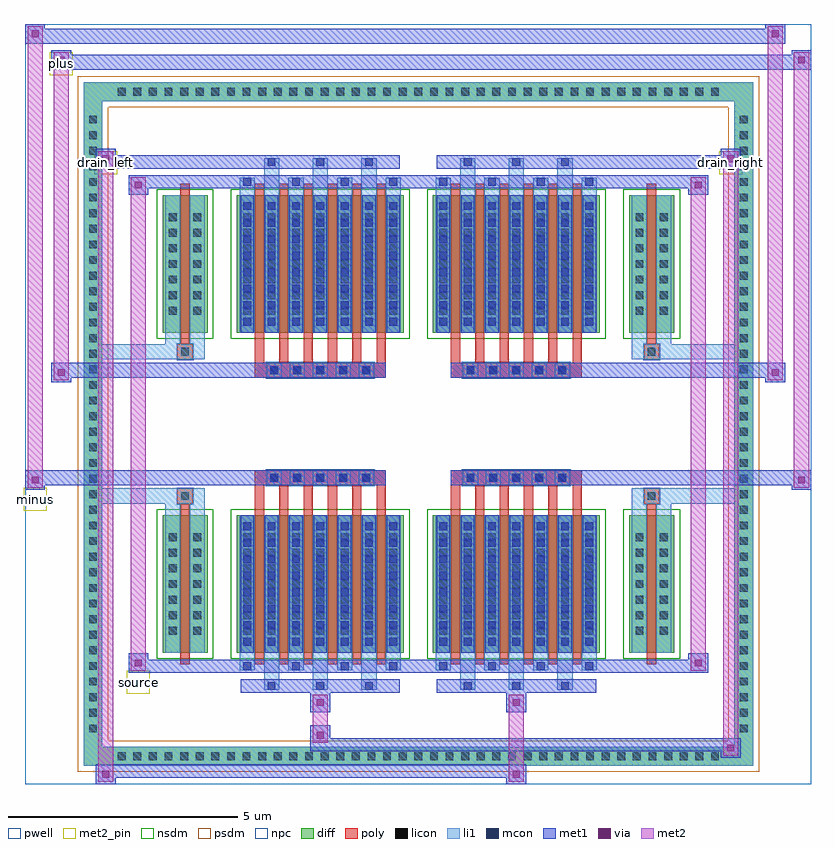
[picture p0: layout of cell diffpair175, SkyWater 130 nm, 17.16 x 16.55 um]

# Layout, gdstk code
import gdstk
lib = gdstk.Library(unit=1e-6, precision=5e-09)
def R(c, l, rs):  # rectangles x0, y0, x1, y1
    for r in rs: c.add(gdstk.rectangle(r[:2], r[2:], *l))
def A(c, l, x, y, w, h, nx, ny, dx, dy):  # array of equal rectangles
    R(c, l, [(x+i*dx, y+j*dy, x+i*dx+w, y+j*dy+h) for i in range(nx) for j in range(ny)])
def P(c, l, *ps):  # polygons
    for p in ps: c.add(gdstk.Polygon(p, *l))
pwell = (64, 44)
diff = (65, 20)
poly = (66, 20)
licon = (66, 44)
li1 = (67, 20)
mcon = (67, 44)
met1 = (68, 20)
via = (68, 44)
met2_pin = (69, 16)
met2 = (69, 20)
nsdm = (93, 44)
psdm = (94, 20)
npc = (95, 20)

diffpair175 = lib.new_cell('diffpair175')
R(diffpair175, pwell, [(-8.56,-7.84,8.56,8.71), (-5.88,-6.03,-0.01,-0.805), (0.01,-6.03,5.88,-0.805), (-5.88,0.805,-0.01,6.03), (0.01,0.805,5.88,6.03)])
A(diffpair175, diff, -6.665, -7.44, 0.41, 0.41, 39, 2, 0.34, 14.47)
A(diffpair175, diff, -7.29, -6.835, 0.41, 0.41, 1, 40, 0, 0.34)
A(diffpair175, diff, 6.88, -6.835, 0.41, 0.41, 1, 40, 0, 0.34)
R(diffpair175, diff, [(-6.665,-7.44,6.665,-7.03), (-7.29,-6.835,-6.88,6.835), (6.88,-6.835,7.29,6.835), (-5.57,-4.985,-4.59,-1.985), (-3.95,-4.985,-0.32,-1.985), (0.32,-4.985,3.95,-1.985), (4.59,-4.985,5.57,-1.985), (-5.57,1.985,-4.59,4.985), (-3.95,1.985,-0.32,4.985), (0.32,1.985,3.95,4.985), (4.59,1.985,5.57,4.985), (-6.665,7.03,6.665,7.44)])
P(diffpair175, diff, [(7.29,7.44),(-7.29,7.44),(-7.29,-7.03),(-6.88,-7.03),(-6.88,7.03),(6.88,7.03),(6.88,-7.03),(-6.88,-7.03),(-7.29,-7.03),(-7.29,-7.44),(7.29,-7.44)])
A(diffpair175, poly, -3.56, -5.235, 0.2, 3.5, 6, 2, 0.53, 6.97)
A(diffpair175, poly, 0.71, -5.235, 0.2, 3.5, 6, 2, 0.53, 6.97)
A(diffpair175, poly, -3.56, -1.735, 0.2, 0.4, 6, 2, 0.53, 3.07)
A(diffpair175, poly, 0.71, -1.735, 0.2, 0.4, 6, 2, 0.53, 3.07)
A(diffpair175, poly, -3.3, -1.335, 0.33, 0.33, 5, 2, 0.5, 2.34)
A(diffpair175, poly, 0.97, -1.335, 0.33, 0.33, 5, 2, 0.5, 2.34)
R(diffpair175, poly, [(-5.18,-5.235,-4.98,-1.735), (4.98,-5.235,5.18,-1.735), (-5.245,-1.735,-4.915,-1.405), (-5.245,-1.735,-4.915,-1.405), (4.915,-1.735,5.245,-1.405), (4.915,-1.735,5.245,-1.405), (-3.56,-1.335,-0.71,-1.005), (0.71,-1.335,3.56,-1.005), (-3.56,1.005,-0.71,1.335), (0.71,1.005,3.56,1.335), (-5.245,1.405,-4.915,1.735), (-5.245,1.405,-4.915,1.735), (4.915,1.405,5.245,1.735), (4.915,1.405,5.245,1.735), (-5.18,1.735,-4.98,5.235), (4.98,1.735,5.18,5.235)])
A(diffpair175, licon, -6.545, -7.32, 0.17, 0.17, 39, 2, 0.34, 14.47)
A(diffpair175, licon, -7.17, -6.715, 0.17, 0.17, 1, 40, 0, 0.34)
A(diffpair175, licon, 7, -6.715, 0.17, 0.17, 1, 40, 0, 0.34)
A(diffpair175, licon, -5.43, -4.59, 0.17, 0.17, 1, 7, 0, 0.34)
A(diffpair175, licon, -4.9, -4.59, 0.17, 0.17, 1, 7, 0, 0.34)
A(diffpair175, licon, -3.81, -4.59, 0.17, 0.17, 7, 7, 0.53, 0.34)
A(diffpair175, licon, 0.46, -4.59, 0.17, 0.17, 7, 7, 0.53, 0.34)
A(diffpair175, licon, 4.73, -4.59, 0.17, 0.17, 1, 7, 0, 0.34)
A(diffpair175, licon, 5.26, -4.59, 0.17, 0.17, 1, 7, 0, 0.34)
A(diffpair175, licon, -3.22, -1.255, 0.17, 0.17, 5, 2, 0.5, 2.34)
A(diffpair175, licon, 1.05, -1.255, 0.17, 0.17, 5, 2, 0.5, 2.34)
A(diffpair175, licon, -5.43, 2.38, 0.17, 0.17, 1, 7, 0, 0.34)
A(diffpair175, licon, -4.9, 2.38, 0.17, 0.17, 1, 7, 0, 0.34)
A(diffpair175, licon, -3.81, 2.38, 0.17, 0.17, 7, 7, 0.53, 0.34)
A(diffpair175, licon, 0.46, 2.38, 0.17, 0.17, 7, 7, 0.53, 0.34)
A(diffpair175, licon, 4.73, 2.38, 0.17, 0.17, 1, 7, 0, 0.34)
A(diffpair175, licon, 5.26, 2.38, 0.17, 0.17, 1, 7, 0, 0.34)
R(diffpair175, licon, [(-5.165,-1.655,-4.995,-1.485), (4.995,-1.655,5.165,-1.485), (-5.165,1.485,-4.995,1.655), (4.995,1.485,5.165,1.655)])
A(diffpair175, li1, -6.625, -7.4, 0.33, 0.33, 39, 2, 0.34, 14.47)
A(diffpair175, li1, -7.25, -6.795, 0.33, 0.33, 1, 40, 0, 0.34)
A(diffpair175, li1, 6.92, -6.795, 0.33, 0.33, 1, 40, 0, 0.34)
A(diffpair175, li1, -3.36, -5.79, 0.33, 0.805, 3, 2, 1.06, 10.775)
A(diffpair175, li1, -3.28, -5.79, 0.17, 0.17, 3, 2, 1.06, 11.41)
A(diffpair175, li1, 0.91, -5.79, 0.33, 0.805, 3, 2, 1.06, 10.775)
A(diffpair175, li1, 0.99, -5.79, 0.17, 0.17, 3, 2, 1.06, 11.41)
A(diffpair175, li1, -3.89, -5.36, 0.33, 0.375, 4, 2, 1.06, 10.345)
A(diffpair175, li1, -3.81, -5.36, 0.17, 0.17, 4, 2, 1.06, 10.55)
A(diffpair175, li1, 0.38, -5.36, 0.33, 0.375, 4, 2, 1.06, 10.345)
A(diffpair175, li1, 0.46, -5.36, 0.17, 0.17, 4, 2, 1.06, 10.55)
A(diffpair175, li1, -3.89, -4.985, 0.33, 3, 7, 2, 0.53, 6.97)
A(diffpair175, li1, 0.38, -4.985, 0.33, 3, 7, 2, 0.53, 6.97)
A(diffpair175, li1, -3.81, -4.83, 0.17, 0.17, 7, 8, 0.53, 0.36)
A(diffpair175, li1, -3.81, -4.83, 0.17, 2.69, 7, 2, 0.53, 6.97)
A(diffpair175, li1, 0.46, -4.83, 0.17, 0.17, 7, 8, 0.53, 0.36)
A(diffpair175, li1, 0.46, -4.83, 0.17, 2.69, 7, 2, 0.53, 6.97)
A(diffpair175, li1, -5.51, -4.67, 0.33, 0.33, 1, 7, 0, 0.34)
A(diffpair175, li1, -4.98, -4.67, 0.33, 0.33, 1, 7, 0, 0.34)
A(diffpair175, li1, -3.89, -4.67, 0.33, 0.33, 7, 7, 0.53, 0.34)
A(diffpair175, li1, 0.38, -4.67, 0.33, 0.33, 7, 7, 0.53, 0.34)
A(diffpair175, li1, 4.65, -4.67, 0.33, 0.33, 1, 7, 0, 0.34)
A(diffpair175, li1, 5.18, -4.67, 0.33, 0.33, 1, 7, 0, 0.34)
A(diffpair175, li1, -3.3, -1.335, 0.33, 0.33, 5, 2, 0.5, 2.34)
A(diffpair175, li1, 0.97, -1.335, 0.33, 0.33, 5, 2, 0.5, 2.34)
A(diffpair175, li1, -3.81, 2.14, 0.17, 0.17, 7, 8, 0.53, 0.36)
A(diffpair175, li1, 0.46, 2.14, 0.17, 0.17, 7, 8, 0.53, 0.36)
A(diffpair175, li1, -5.51, 2.3, 0.33, 0.33, 1, 7, 0, 0.34)
A(diffpair175, li1, -4.98, 2.3, 0.33, 0.33, 1, 7, 0, 0.34)
A(diffpair175, li1, -3.89, 2.3, 0.33, 0.33, 7, 7, 0.53, 0.34)
A(diffpair175, li1, 0.38, 2.3, 0.33, 0.33, 7, 7, 0.53, 0.34)
A(diffpair175, li1, 4.65, 2.3, 0.33, 0.33, 1, 7, 0, 0.34)
A(diffpair175, li1, 5.18, 2.3, 0.33, 0.33, 1, 7, 0, 0.34)
R(diffpair175, li1, [(-7.29,-7.44,-6.88,-7.03), (-7.29,-7.44,-6.88,-7.03), (-6.88,-7.44,6.88,-7.03), (6.88,-7.44,7.29,-7.03), (6.88,-7.44,7.29,-7.03), (-7.29,-7.03,-6.88,7.03), (6.88,-7.03,7.29,7.03), (-5.51,-4.985,-5.18,-1.985), (-4.98,-4.985,-4.65,-1.985), (4.65,-4.985,4.98,-1.985), (5.18,-4.985,5.51,-1.985), (-5.51,-1.985,-5.18,-1.405), (-4.98,-1.985,-4.65,-1.405), (4.65,-1.985,4.98,-1.405), (5.18,-1.985,5.51,-1.405), (-7.29,-1.735,-5.245,-1.405), (-5.51,-1.735,-5.245,-1.405), (-5.245,-1.735,-4.915,-1.405), (-4.915,-1.735,-4.65,-1.405), (4.65,-1.735,4.915,-1.405), (4.915,-1.735,5.245,-1.405), (4.915,-1.735,7.29,-1.405), (5.245,-1.735,5.51,-1.405), (-7.29,1.405,-5.245,1.735), (-5.51,1.405,-5.245,1.735), (-5.51,1.405,-5.18,1.985), (-5.245,1.405,-4.915,1.735), (-4.98,1.405,-4.65,1.985), (-4.915,1.405,-4.65,1.735), (4.65,1.405,4.915,1.735), (4.65,1.405,4.98,1.985), (4.915,1.405,5.245,1.735), (4.915,1.405,7.29,1.735), (5.18,1.405,5.51,1.985), (5.245,1.405,5.51,1.735), (-5.51,1.985,-5.18,4.985), (-4.98,1.985,-4.65,4.985), (4.65,1.985,4.98,4.985), (5.18,1.985,5.51,4.985), (-7.29,7.03,-6.88,7.44), (-7.29,7.03,-6.88,7.44), (-6.88,7.03,6.88,7.44), (6.88,7.03,7.29,7.44), (6.88,7.03,7.29,7.44)])
A(diffpair175, mcon, -3.28, -5.79, 0.17, 0.17, 3, 2, 1.06, 11.41)
A(diffpair175, mcon, 0.99, -5.79, 0.17, 0.17, 3, 2, 1.06, 11.41)
A(diffpair175, mcon, -3.81, -5.36, 0.17, 0.17, 4, 2, 1.06, 10.55)
A(diffpair175, mcon, 0.46, -5.36, 0.17, 0.17, 4, 2, 1.06, 10.55)
A(diffpair175, mcon, -3.81, -4.83, 0.17, 0.17, 7, 8, 0.53, 0.36)
A(diffpair175, mcon, 0.46, -4.83, 0.17, 0.17, 7, 8, 0.53, 0.36)
A(diffpair175, mcon, -3.22, -1.255, 0.17, 0.17, 5, 2, 0.5, 2.34)
A(diffpair175, mcon, 1.05, -1.255, 0.17, 0.17, 5, 2, 0.5, 2.34)
A(diffpair175, mcon, -3.81, 2.14, 0.17, 0.17, 7, 8, 0.53, 0.36)
A(diffpair175, mcon, 0.46, 2.14, 0.17, 0.17, 7, 8, 0.53, 0.36)
A(diffpair175, met1, -3.34, -5.85, 0.29, 0.29, 3, 2, 1.06, 11.41)
A(diffpair175, met1, 0.93, -5.85, 0.29, 0.29, 3, 2, 1.06, 11.41)
A(diffpair175, met1, -3.87, -5.42, 0.29, 0.29, 4, 2, 1.06, 10.55)
A(diffpair175, met1, 0.4, -5.42, 0.29, 0.29, 4, 2, 1.06, 10.55)
A(diffpair175, met1, -3.87, -4.985, 0.29, 3, 7, 2, 0.53, 6.97)
A(diffpair175, met1, 0.4, -4.985, 0.29, 3, 7, 2, 0.53, 6.97)
A(diffpair175, met1, -3.87, -4.89, 0.29, 0.29, 7, 8, 0.53, 0.36)
A(diffpair175, met1, 0.4, -4.89, 0.29, 0.29, 7, 8, 0.53, 0.36)
A(diffpair175, met1, -3.28, -1.315, 0.29, 0.29, 5, 2, 0.5, 2.34)
A(diffpair175, met1, 0.99, -1.315, 0.29, 0.29, 5, 2, 0.5, 2.34)
A(diffpair175, met1, -3.87, 2.08, 0.29, 0.29, 7, 8, 0.53, 0.36)
A(diffpair175, met1, 0.4, 2.08, 0.29, 0.29, 7, 8, 0.53, 0.36)
R(diffpair175, met1, [(-7.02,-7.84,-6.59,-7.41), (1.92,-7.84,2.35,-7.41), (-7.02,-7.7,2.35,-7.41), (6.59,-7.27,7.02,-6.84), (-2.35,-7.13,7.02,-6.84), (-2.35,-6.99,-1.92,-6.56), (-2.35,-6.28,-1.92,-5.85), (1.92,-6.28,2.35,-5.85), (-3.87,-5.85,-0.4,-5.56), (0.4,-5.85,3.87,-5.56), (-6.31,-5.42,-5.88,-4.99), (-6.31,-5.42,-3.87,-5.13), (-3.87,-5.42,-0.4,-5.13), (-0.4,-5.42,0.4,-5.13), (0.4,-5.42,3.87,-5.13), (3.87,-5.42,6.31,-5.13), (5.88,-5.42,6.31,-4.99), (-8.56,-1.435,-8.13,-1.005), (8.13,-1.435,8.56,-1.005), (-8.56,-1.335,-0.71,-1.005), (-3.56,-1.335,-0.71,-1.005), (0.71,-1.335,3.56,-1.005), (0.71,-1.335,8.56,-1.005), (-7.99,0.905,-7.56,1.335), (7.56,0.905,7.99,1.335), (-7.99,1.005,-3.56,1.335), (-3.56,1.005,-0.71,1.335), (0.71,1.005,3.56,1.335), (3.56,1.005,7.99,1.335), (-6.31,4.99,-5.88,5.42), (5.88,4.99,6.31,5.42), (-6.31,5.13,-3.87,5.42), (-3.87,5.13,-0.4,5.42), (-0.4,5.13,0.4,5.42), (0.4,5.13,3.87,5.42), (3.87,5.13,6.31,5.42), (-7.02,5.56,-6.59,5.99), (-7.02,5.56,-3.87,5.85), (-3.87,5.56,-0.4,5.85), (0.4,5.56,3.87,5.85), (3.87,5.56,7.02,5.85), (6.59,5.56,7.02,5.99), (-7.99,7.71,-7.56,8.14), (-7.99,7.71,-5.88,8.04), (-5.88,7.71,5.88,8.04), (5.88,7.71,8.56,8.04), (8.13,7.71,8.56,8.14), (-8.56,8.28,-8.13,8.71), (-8.56,8.28,-5.88,8.61), (-5.88,8.28,5.88,8.61), (5.88,8.28,7.99,8.61), (7.56,8.28,7.99,8.71)])
R(diffpair175, via, [(-6.88,-7.7,-6.73,-7.55), (2.06,-7.7,2.21,-7.55), (6.73,-7.13,6.88,-6.98), (-2.21,-6.85,-2.06,-6.7), (-2.21,-6.14,-2.06,-5.99), (2.06,-6.14,2.21,-5.99), (-6.17,-5.28,-6.02,-5.13), (6.02,-5.28,6.17,-5.13), (-8.42,-1.295,-8.27,-1.145), (8.27,-1.295,8.42,-1.145), (-7.85,1.045,-7.7,1.195), (7.7,1.045,7.85,1.195), (-6.17,5.13,-6.02,5.28), (6.02,5.13,6.17,5.28), (-6.88,5.7,-6.73,5.85), (6.73,5.7,6.88,5.85), (-7.85,7.85,-7.7,8), (8.27,7.85,8.42,8), (-8.42,8.42,-8.27,8.57), (7.7,8.42,7.85,8.57)])
R(diffpair175, met2_pin, [(-6.345,-5.87,-5.845,-5.37), (-8.595,-1.885,-8.095,-1.385), (-7.055,5.44,-6.555,5.94), (6.555,5.44,7.055,5.94), (-8.025,7.59,-7.525,8.09)])
R(diffpair175, met2, [(-6.97,-7.79,-6.64,-7.46), (-6.97,-7.79,-6.64,5.94), (1.97,-7.79,2.3,-7.46), (1.97,-7.46,2.3,-6.23), (6.64,-7.22,6.97,-6.89), (6.64,-7.22,6.97,5.94), (-2.3,-6.94,-1.97,-6.61), (-2.3,-6.61,-1.97,-6.23), (-2.3,-6.23,-1.97,-5.9), (1.97,-6.23,2.3,-5.9), (-6.26,-5.37,-5.93,-5.04), (-6.26,-5.37,-5.93,5.37), (5.93,-5.37,6.26,-5.04), (5.93,-5.37,6.26,5.37), (-8.51,-1.385,-8.18,-1.055), (-8.51,-1.385,-8.18,8.66), (8.18,-1.385,8.51,-1.055), (8.18,-1.385,8.51,8.09), (-7.94,0.955,-7.61,1.285), (-7.94,0.955,-7.61,8.09), (7.61,0.955,7.94,1.285), (7.61,0.955,7.94,8.66), (-6.26,5.04,-5.93,5.37), (5.93,5.04,6.26,5.37), (-6.97,5.61,-6.64,5.94), (6.64,5.61,6.97,5.94), (-7.94,7.76,-7.61,8.09), (8.18,7.76,8.51,8.09), (-8.51,8.33,-8.18,8.66), (7.61,8.33,7.94,8.66)])
P(diffpair175, met2, [(8.51,-1.385),(8.51,-1.385),(8.51,-1.055),(8.51,-1.055)],
  [(8.51,7.76),(8.51,7.76),(8.51,8.09),(8.51,8.09)],
  [(-8.18,-1.385),(-8.18,-1.385),(-8.18,-1.055),(-8.18,-1.055)],
  [(-8.18,8.33),(-8.18,8.33),(-8.18,8.66),(-8.18,8.66)],
  [(7.94,0.955),(7.94,0.955),(7.94,1.285),(7.94,1.285)],
  [(7.94,8.33),(7.94,8.33),(7.94,8.66),(7.94,8.66)],
  [(-7.61,0.955),(-7.61,0.955),(-7.61,1.285),(-7.61,1.285)],
  [(-7.61,7.76),(-7.61,7.76),(-7.61,8.09),(-7.61,8.09)],
  [(-6.64,-7.79),(-6.64,-7.79),(-6.64,-7.46),(-6.64,-7.46)],
  [(-6.64,5.61),(-6.64,5.61),(-6.64,5.94),(-6.64,5.94)],
  [(6.97,-7.22),(6.97,-7.22),(6.97,-6.89),(6.97,-6.89)],
  [(6.97,5.61),(6.97,5.61),(6.97,5.94),(6.97,5.94)],
  [(-5.93,-5.37),(-5.93,-5.37),(-5.93,-5.04),(-5.93,-5.04)],
  [(-5.93,5.04),(-5.93,5.04),(-5.93,5.37),(-5.93,5.37)],
  [(6.26,-5.37),(6.26,-5.37),(6.26,-5.04),(6.26,-5.04)],
  [(6.26,5.04),(6.26,5.04),(6.26,5.37),(6.26,5.37)])
R(diffpair175, nsdm, [(-5.7,-5.115,-4.46,-1.855), (-4.08,-5.115,-0.19,-1.855), (0.19,-5.115,4.08,-1.855), (4.46,-5.115,5.7,-1.855), (-5.7,1.855,-4.46,5.115), (-4.08,1.855,-0.19,5.115), (0.19,1.855,4.08,5.115), (4.46,1.855,5.7,5.115)])
P(diffpair175, psdm, [(7.42,7.57),(-7.42,7.57),(-7.42,-6.9),(-6.75,-6.9),(-6.75,6.9),(6.75,6.9),(6.75,-6.9),(-6.75,-6.9),(-7.42,-6.9),(-7.42,-7.57),(7.42,-7.57)])
A(diffpair175, npc, -3.32, -1.355, 0.37, 0.37, 5, 2, 0.5, 2.34)
A(diffpair175, npc, 0.95, -1.355, 0.37, 0.37, 5, 2, 0.5, 2.34)
R(diffpair175, npc, [(-5.265,-1.755,-4.895,-1.385), (4.895,-1.755,5.265,-1.385), (-3.32,-1.355,-2.45,-0.985), (-3.32,-1.355,-2.45,-0.985), (-2.82,-1.355,-1.95,-0.985), (-2.82,-1.355,-1.95,-0.985), (-2.32,-1.355,-1.45,-0.985), (-2.32,-1.355,-1.45,-0.985), (-1.82,-1.355,-0.95,-0.985), (-1.82,-1.355,-0.95,-0.985), (0.95,-1.355,1.82,-0.985), (0.95,-1.355,1.82,-0.985), (1.45,-1.355,2.32,-0.985), (1.45,-1.355,2.32,-0.985), (1.95,-1.355,2.82,-0.985), (1.95,-1.355,2.82,-0.985), (2.45,-1.355,3.32,-0.985), (2.45,-1.355,3.32,-0.985), (-3.32,0.985,-2.45,1.355), (-3.32,0.985,-2.45,1.355), (-2.82,0.985,-1.95,1.355), (-2.82,0.985,-1.95,1.355), (-2.32,0.985,-1.45,1.355), (-2.32,0.985,-1.45,1.355), (-1.82,0.985,-0.95,1.355), (-1.82,0.985,-0.95,1.355), (0.95,0.985,1.82,1.355), (0.95,0.985,1.82,1.355), (1.45,0.985,2.32,1.355), (1.45,0.985,2.32,1.355), (1.95,0.985,2.82,1.355), (1.95,0.985,2.82,1.355), (2.45,0.985,3.32,1.355), (2.45,0.985,3.32,1.355), (-5.265,1.385,-4.895,1.755), (4.895,1.385,5.265,1.755)])
diffpair175.add(gdstk.Label('minus', (-8.345,-1.635), layer=69, texttype=5))
diffpair175.add(gdstk.Label('drain_right', (6.805,5.69), layer=69, texttype=5))
diffpair175.add(gdstk.Label('drain_left', (-6.805,5.69), layer=69, texttype=5))
diffpair175.add(gdstk.Label('source', (-6.095,-5.62), layer=69, texttype=5))
diffpair175.add(gdstk.Label('plus', (-7.775,7.84), layer=69, texttype=5))

lib.write_gds('diffpair175.gds')
